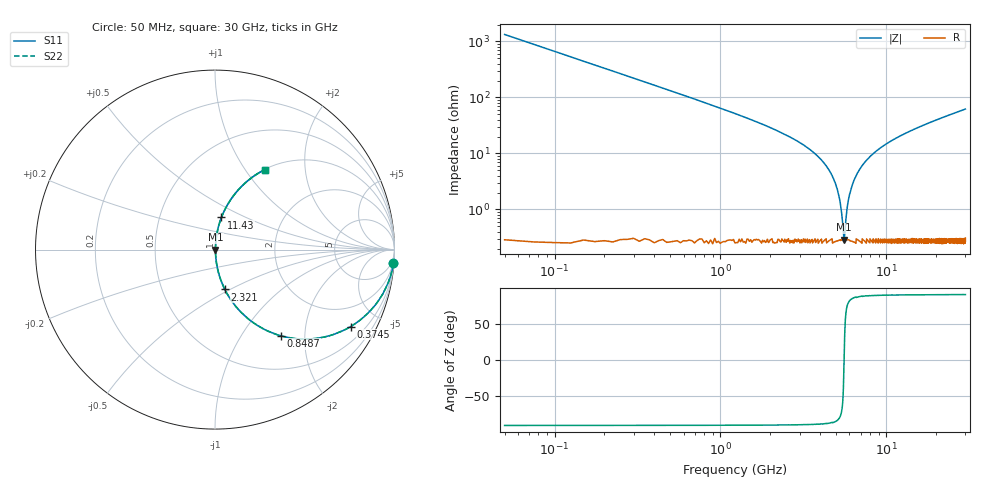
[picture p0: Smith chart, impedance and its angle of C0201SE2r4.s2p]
!	AVX Thin Film Operation 	Date: April 2014
!	Description: Accu-P® Series, Thin Film  SMD RF Capacitor
!	Part Number: 02013J2R4QBSTR
# MHZ S MA R 50
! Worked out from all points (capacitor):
!   1201 points, 50 MHz to 30 GHz, reference 50 ohm
!   read as one part in series: C = 2.4 pF near 199.8 MHz
!   lowest |Z| = 288 mohm at 5.566 GHz (marker M1)
!   series resonance near 5.569 GHz, so ESL is about 340 pH
!   S11 on the Smith chart (normalised r, x): 50 MHz: 1, -27; 374.5 MHz: 1.01, -3.52; 848.7 MHz: 1.00, -1.53; 2.321 GHz: 1.01, -0.47; 11.43 GHz: 1.01, +0.37; 30 GHz: 1.01, +1.24
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50  0.997 -4.3  0.075 85.7  0.075 85.7  0.997 -4.3
249.667  0.935 -20.7  0.353 69.3  0.353 69.3  0.935 -20.7
374.458  0.869 -29.5  0.493 60.4  0.493 60.4  0.869 -29.5
848.667  0.606 -52.5  0.794 37.3  0.794 37.3  0.606 -52.5
1422.708  0.399 -66.2  0.915 23.5  0.915 23.5  0.399 -66.2
2321.208  0.229 -76.1  0.971 13.2  0.971 13.2  0.229 -76.1
4118.208  0.073 -83.7  0.995 4.2  0.995 4.2  0.073 -83.7
5041.667  0.024 -82.1  0.997 1.4  0.997 1.4  0.024 -82.1
5266.292  0.014 -77.6  0.997 0.8  0.997 0.8  0.014 -77.6
5465.958  0.005218 -58.2  0.997 0.3  0.997 0.3  0.005218 -58.2
5565.792  0.002737 -3.0  0.997 0.0  0.997 0.0  0.002737 -3.0
5665.625  0.004908 55.9  0.997 -0.2  0.997 -0.2  0.004908 55.9
5865.292  0.013 76.8  0.997 -0.7  0.997 -0.7  0.013 76.8
6040  0.019 80.8  0.997 -1.1  0.997 -1.1  0.019 80.8
6788.75  0.047 84.0  0.996 -2.7  0.996 -2.7  0.047 84.0
8036.667  0.089 83.2  0.993 -5.1  0.993 -5.1  0.089 83.2
10058.29  0.147 80.5  0.986 -8.5  0.986 -8.5  0.147 80.5
11431  0.183 78.6  0.98 -10.5  0.98 -10.5  0.183 78.6
15025  0.266 74.0  0.961 -15.4  0.961 -15.4  0.266 74.0
20016.67  0.366 68.1  0.928 -21.5  0.928 -21.5  0.366 68.1
25033.29  0.452 62.8  0.889 -26.9  0.889 -26.9  0.452 62.8
30000  0.525 58.0  0.848 -31.7  0.848 -31.7  0.525 58.0
